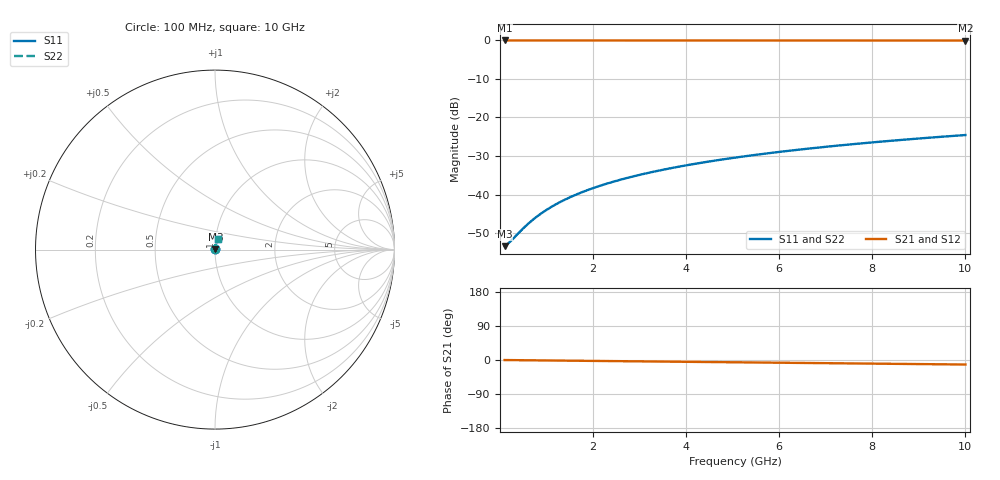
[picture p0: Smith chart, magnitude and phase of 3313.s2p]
# Hz S RI R 50.00
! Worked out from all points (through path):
!   100 points, 100 MHz to 10 GHz, reference 50 ohm
!   highest |S21| = -0.02 dB at 100 MHz (marker M1); lowest = 0.0 dB at 10 GHz (marker M2)
!   group delay of S21, straight-line fit = 3.32 ps
!   lowest |S11| = -53.4 dB at 100 MHz (marker M3), VSWR 1.00, Z = 50.2 + j0.0595 ohm
!   |S11| at or under -10 dB: start of sweep to end of sweep
!   |S22| runs from -53.4 to -24.6 dB; largest |S21 - S12| = 0
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1e8  0.00206 0.000592  0.9979 -0.00208  0.9979 -0.00208  0.00206 0.000592
2e8  0.00207 0.00118  0.9979 -0.00416  0.9979 -0.00416  0.00207 0.00118
5e8  0.00212 0.00296  0.9978 -0.0104  0.9978 -0.0104  0.00212 0.00296
6e8  0.00214 0.00355  0.9978 -0.0125  0.9978 -0.0125  0.00214 0.00355
7e8  0.00216 0.00414  0.9978 -0.0146  0.9978 -0.0146  0.00216 0.00414
9e8  0.00221 0.00533  0.9977 -0.0187  0.9977 -0.0187  0.00221 0.00533
1.1e9  0.00227 0.00651  0.9976 -0.0229  0.9976 -0.0229  0.00227 0.00651
1.3e9  0.00233 0.00769  0.9975 -0.027  0.9975 -0.027  0.00233 0.00769
1.5e9  0.00241 0.00887  0.9973 -0.0312  0.9973 -0.0312  0.00241 0.00887
1.8e9  0.00254 0.0106  0.9971 -0.0374  0.9971 -0.0374  0.00254 0.0106
2.1e9  0.00269 0.0124  0.9968 -0.0437  0.9968 -0.0437  0.00269 0.0124
2.5e9  0.00293 0.0148  0.9963 -0.052  0.9963 -0.052  0.00293 0.0148
2.9e9  0.0032 0.0171  0.9958 -0.0603  0.9958 -0.0603  0.0032 0.0171
3.4e9  0.0036 0.0201  0.9951 -0.0706  0.9951 -0.0706  0.0036 0.0201
3.8e9  0.00396 0.0224  0.9944 -0.0789  0.9944 -0.0789  0.00396 0.0224
4.2e9  0.00436 0.0247  0.9936 -0.0872  0.9936 -0.0872  0.00436 0.0247
5.1e9  0.0054 0.0299  0.9916 -0.1058  0.9916 -0.1058  0.0054 0.0299
5.9e9  0.00649 0.0345  0.9896 -0.1223  0.9896 -0.1223  0.00649 0.0345
6.7e9  0.00773 0.0391  0.9872 -0.1388  0.9872 -0.1388  0.00773 0.0391
7.5e9  0.00913 0.0436  0.9845 -0.1552  0.9845 -0.1552  0.00913 0.0436
8.4e9  0.0109 0.0486  0.9812 -0.1736  0.9812 -0.1736  0.0109 0.0486
1e10  0.0144 0.0574  0.9743 -0.2061  0.9743 -0.2061  0.0144 0.0574
